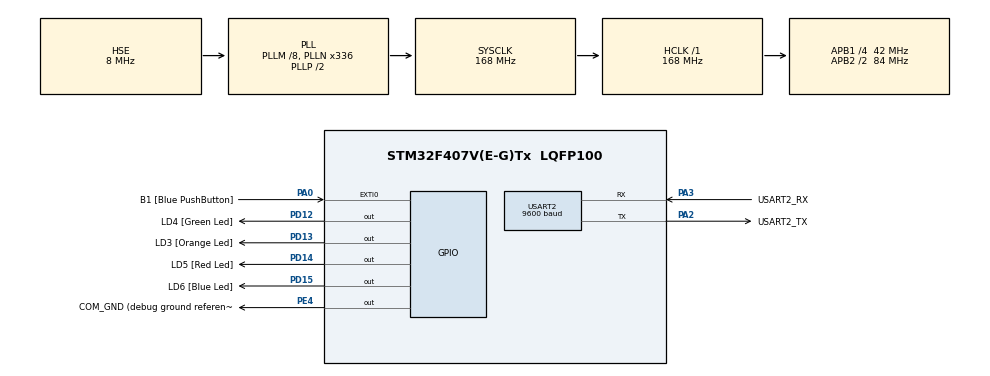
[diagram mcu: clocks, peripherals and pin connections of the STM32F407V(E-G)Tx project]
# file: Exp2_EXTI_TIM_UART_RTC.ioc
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Mcu.Family=STM32F4
Mcu.Name=STM32F407V(E-G)Tx
Mcu.Package=LQFP100
NVIC.EXTI0_IRQn=true\:1\:0\:false\:false\:true\:true\:true\:true
NVIC.PriorityGroup=NVIC_PRIORITYGROUP_4
NVIC.RTC_WKUP_IRQn=true\:0\:0\:false\:false\:true\:false\:true\:true
NVIC.TIM3_IRQn=true\:2\:0\:false\:false\:true\:true\:true\:true
NVIC.USART2_IRQn=true\:1\:0\:false\:false\:true\:true\:true\:true
PA0-WKUP.GPIO_Label=B1 [Blue PushButton]
PA0-WKUP.GPIO_ModeDefaultEXTI=GPIO_MODE_IT_RISING
PA0-WKUP.GPIO_PuPd=GPIO_PULLDOWN
PA0-WKUP.GPIO_Speed=GPIO_SPEED_FREQ_VERY_HIGH
PA0-WKUP.Signal=GPXTI0
PA13.GPIO_Label=SWDIO
PA13.Signal=SYS_JTMS-SWDIO
PA14.GPIO_Label=SWCLK
PA14.Signal=SYS_JTCK-SWCLK
PA2.GPIO_Label=USART2_TX
PA2.GPIO_Mode=GPIO_MODE_AF_PP
PA2.GPIO_PuPd=GPIO_PULLUP
PA2.GPIO_Speed=GPIO_SPEED_FREQ_VERY_HIGH
PA2.Mode=Asynchronous
PA2.Signal=USART2_TX
PA3.GPIO_Label=USART2_RX
PA3.GPIO_Mode=GPIO_MODE_AF_PP
PA3.GPIO_PuPd=GPIO_PULLUP
PA3.GPIO_Speed=GPIO_SPEED_FREQ_VERY_HIGH
PA3.Mode=Asynchronous
PA3.Signal=USART2_RX
PD12.GPIO_Label=LD4 [Green Led]
PD12.GPIO_PuPd=GPIO_NOPULL
PD12.GPIO_Speed=GPIO_SPEED_FREQ_LOW
PD12.Signal=GPIO_Output
PD13.GPIO_Label=LD3 [Orange Led]
PD13.GPIO_PuPd=GPIO_NOPULL
PD13.GPIO_Speed=GPIO_SPEED_FREQ_LOW
PD13.Signal=GPIO_Output
PD14.GPIO_Label=LD5 [Red Led]
PD14.GPIO_PuPd=GPIO_NOPULL
PD14.GPIO_Speed=GPIO_SPEED_FREQ_LOW
PD14.Signal=GPIO_Output
PD15.GPIO_Label=LD6 [Blue Led]
PD15.GPIO_PuPd=GPIO_NOPULL
PD15.GPIO_Speed=GPIO_SPEED_FREQ_LOW
PD15.Signal=GPIO_Output
PE4.GPIO_Label=COM_GND (debug ground reference)
PE4.GPIO_PuPd=GPIO_NOPULL
PE4.GPIO_Speed=GPIO_SPEED_FREQ_LOW
PE4.PinState=GPIO_PIN_RESET
PE4.Signal=GPIO_Output
PH0-OSC_IN.GPIO_Label=PH0-OSC_IN
PH0-OSC_IN.Mode=HSE-External-Oscillator
PH0-OSC_IN.Signal=RCC_OSC_IN
PH1-OSC_OUT.GPIO_Label=PH1-OSC_OUT
PH1-OSC_OUT.Mode=HSE-External-Oscillator
PH1-OSC_OUT.Signal=RCC_OSC_OUT
ProjectManager.HeapSize=0x200
ProjectManager.StackSize=0x400
ProjectManager.TargetToolchain=MDK-ARM V5.32
RCC.48MHZClocksFreq_Value=48000000
RCC.AHBFreq_Value=168000000
RCC.APB1CLKDivider=RCC_HCLK_DIV4
RCC.APB1Freq_Value=42000000
RCC.APB1TimFreq_Value=84000000
RCC.APB2CLKDivider=RCC_HCLK_DIV2
RCC.APB2Freq_Value=84000000
RCC.APB2TimFreq_Value=168000000
RCC.CortexFreq_Value=168000000
RCC.HCLKFreq_Value=168000000
RCC.HSE_VALUE=8000000
RCC.HSI_VALUE=16000000
RCC.LSE_VALUE=32768
RCC.PLLM=8
RCC.PLLN=336
RCC.PLLP=RCC_PLLP_DIV2
RCC.PLLQ=7
RCC.PLLSourceVirtual=RCC_PLLSOURCE_HSE
RCC.SYSCLKFreq_VALUE=168000000
RCC.SYSCLKSource=RCC_SYSCLKSOURCE_PLLCLK
RCC.VCOOutputFreq_Value=336000000
RTC.AsynchPrediv=127
RTC.HourFormat=RTC_HOURFORMAT_24
RTC.SynchPrediv=249
RTC.WakeUpClock=RTC_WAKEUPCLOCK_CK_SPRE_16BITS
TIM3.AutoReloadPreload=TIM_AUTORELOAD_PRELOAD_ENABLE
TIM3.ClockDivision=TIM_CLOCKDIVISION_DIV1
TIM3.Period=2499
TIM3.Prescaler=8399
USART2.BaudRate=9600
USART2.Parity=PARITY_NONE
USART2.StopBits=STOPBITS_1
USART2.VirtualMode-Asynchronous=VM_ASYNC
USART2.WordLength=WORDLENGTH_8B
VP_RTC_VS_RTC_Activate.Mode=RTC_Enabled
VP_TIM3_VS_ClockSourceINT.Mode=Internal

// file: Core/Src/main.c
/* USER CODE BEGIN Header */
/**
  ******************************************************************************
  * @file           : main.c
  * @brief          : 实验二 主程序
  *                   STM32F407G-DISC1 / STM32F407VGT6
  *
  *  任务：
  *   1) 按键 B1(PA0) 外部中断 EXTI0：每次按下切换 LED3~LED6 跑马灯方向
  *      （正转 LED3->LED6  /  反转 LED6->LED3），并在中断里生成打印信息
  *   2) TIM3 定时中断（250 ms，要求 200~500 ms 区间）驱动跑马灯逐一点亮
  *   3) USART2 中断接收数据帧 $0,1,YYMMDD,HHMMSS*，解析后更新 RTC 时间
  *   4) RTC 1 Hz 秒中断把当前时间格式化后每秒上传，用于核对时间是否改对
  ******************************************************************************
  * @attention
  *
  * Copyright (c) 2026 STMicroelectronics.
  * All rights reserved.
  *
  * This software is licensed under terms that can be found in the LICENSE file
  * in the root directory of this software component.
  * If no LICENSE file comes with this software, it is provided AS-IS.
  *
  ******************************************************************************
  */
/* USER CODE END Header */
#include "main.h"
#include "rtc.h"
#include "tim.h"
#include "usart.h"
#include "gpio.h"

/* USER CODE BEGIN Includes */
#include <stdio.h>
#include <string.h>
/* USER CODE END Includes */

/* USER CODE BEGIN PD */
#define LED_STEP_MS         250U   /* 跑马灯步进间隔，要求 200~500 ms */
/* USER CODE END PD */

/* USER CODE BEGIN PV */
/* ---- RTC 秒中断与主循环共享的时间数据 ---- */
volatile uint32_t m_nRtcYMD    = 0U;
volatile uint32_t m_nRtcHMS    = 0U;
volatile uint8_t  g_rtcSecFlag = 0U;
char              g_rtcString[32] = "RTC init\r\n";

/* ---- 跑马灯 ---- */
/* 四颗 LED 在板上呈菱形排列（不是一排）：
 *             LD3 (PD13)
 *   LD4 (PD12)            LD5 (PD14)
 *             LD6 (PD15)
 * 按名字 LED3→LED4→LED5→LED6 点亮 = 上→左→右→下，视觉上是 "Z" 字形。
 * 所以这里按"物理位置绕圈"排序：LD3(上) → LD5(右) → LD6(下) → LD4(左)
 *   index+1  = 顺时针
 *   index-1  = 逆时针
 */
static const uint16_t s_ledRing[4] = {LD3_Pin, LD5_Pin, LD6_Pin, LD4_Pin};
static volatile uint8_t s_ledIndex   = 0U;   /* 当前点亮序号 0->LD3(上) 1->LD5(右) 2->LD6(下) 3->LD4(左) */
static volatile uint8_t s_dirReverse = 0U;   /* 0 = 顺时针，1 = 逆时针 */

/* ---- 外部中断产生的打印信息（中断里只准备，主循环发送）---- */
static volatile uint8_t s_keyMsgFlag = 0U;
static char s_keyMsg[64];

/* ---- 串口帧接收（DMA + IDLE，收到一段数据后由 App_FrameFeed 逐字节组帧）---- */
char    chRxBuf[128];                        /* 帧内容缓冲（去掉 $ 与 *） */
volatile uint8_t g_frameRdy = 0U;            /* 1 = 收到完整一帧 */
static volatile uint8_t s_rxInFrame = 0U;    /* 正在接收一帧 */
static volatile uint8_t s_rxLen     = 0U;    /* 当前帧长度 */
/* USER CODE END PV */

void SystemClock_Config(void);
/* USER CODE BEGIN PFP */
static void Led_AllOff(void);
static void Led_Marquee_Step(void);
uint8_t App_FrameFeed(const uint8_t *buf, uint16_t len);
static uint8_t Frame_DecodeSetRtc(const char *buf);
static uint8_t WeekDay_Calc(uint16_t year, uint8_t month, uint8_t day);
/* USER CODE END PFP */

/* USER CODE BEGIN 0 */
#if defined(__CC_ARM)
#pragma import(__use_no_semihosting)   /* 不使用半主机模式，printf 才能脱机工作 */
struct __FILE
{
  int handle;
};
FILE __stdout;

void _sys_exit(int x)
{
  (void)x;
}

void _ttywrch(int ch)
{
  (void)ch;
}
#endif

/**
  * @brief  printf 重定向：字符写入串口 TX 环形缓冲，由 DMA 后台发送
  * @note   Uart_TxChar() 只入队，立即返回，printf 不再阻塞
  */
int fputc(int ch, FILE *f)
{
  (void)f;
  return Uart_TxChar(ch);
}
/* USER CODE END 0 */

/**
  * @brief  程序入口：初始化外设后进入主循环
  * @note   初始化顺序：HAL -> 时钟 -> GPIO(含 EXTI) -> RTC -> TIM3 -> USART2 -> DMA
  *         主循环只做三件事：发按键信息、解析串口帧、发 RTC 时间
  * @retval int
  */
int main(void)
{

  /* MCU Configuration--------------------------------------------------------*/

  /* Reset of all peripherals, Initializes the Flash interface and the Systick. */
  HAL_Init();

  /* Configure the system clock */
  SystemClock_Config();

  /* Initialize all configured peripherals */
  MX_GPIO_Init();
  MX_RTC_Init();
  MX_TIM3_Init();
  MX_USART2_UART_Init();
  /* USER CODE BEGIN 2 */
  /* ★ 必须先初始化 DMA，再使用 printf/串口发送（printf 现在走 DMA 发送路径） */
  Uart_DmaInit();

  printf("\r\n");
  printf("**********************************************\r\n");
  printf("*  STM32F407G-DISC1  Experiment 2            *\r\n");
  printf("*  EXTI0 / TIM3 / USART2 frame / RTC         *\r\n");
  printf("**********************************************\r\n");
  printf("SYSCLK = %lu Hz\r\n", (unsigned long)HAL_RCC_GetSysClockFreq());
  printf("TIM3   : %lu ms update interrupt, LED marquee\r\n", (unsigned long)LED_STEP_MS);
  printf("USART2 : 9600 bps, 8 data bits, 1 stop bit, no parity\r\n");
  printf("CMD    : $0,1,YYMMDD,HHMMSS*   e.g. $0,1,251107,140101*\r\n");
  printf("KEY    : press B1 -> switch direction (CLOCKWISE / COUNTER-CLOCKWISE)\r\n\r\n");

  /* 启动 TIM3 更新中断：此后每 250 ms 自动走一步跑马灯 */
  if (HAL_TIM_Base_Start_IT(&htim3) != HAL_OK)
  {
    Error_Handler();
  }

  /* 初始化串口 DMA：TX 走 DMA1_Stream6，RX 走 DMA1_Stream5
     （已在 USER CODE 2 开头调用，这里不再重复） */

  /* 使能串口接收：DMA + 空闲(IDLE)中断，一段数据收完再处理 */
  if (HAL_UARTEx_ReceiveToIdle_DMA(&huart2, g_uartRxDma, sizeof(g_uartRxDma)) != HAL_OK)
  {
    Error_Handler();
  }
  /* USER CODE END 2 */

  /* Infinite loop */
  /* USER CODE BEGIN WHILE */
  while (1)
  {
    /* 1) 外部中断里准备好的按键信息，入队后由 DMA 发送 */
    if (s_keyMsgFlag != 0U)
    {
      s_keyMsgFlag = 0U;
      Uart_SendAsync((uint8_t *)s_keyMsg, (uint16_t)strlen(s_keyMsg));
    }

    /* 2) 收到完整数据帧：回显并解析，必要时更新 RTC */
    if (g_frameRdy != 0U)
    {
      g_frameRdy = 0U;
      printf("[RX] $%s*\r\n", chRxBuf);
      if (Frame_DecodeSetRtc(chRxBuf) == 0U)
      {
        printf("[RX] ignored, format: $0,1,YYMMDD,HHMMSS*\r\n");
      }
    }

    /* 3) RTC 秒信号：时间已在中断里格式化，这里入队由 DMA 发送 */
    if (g_rtcSecFlag != 0U)
    {
      g_rtcSecFlag = 0U;
      Uart_SendAsync((uint8_t *)g_rtcString, (uint16_t)strlen(g_rtcString));
    }
    /* USER CODE END WHILE */

  }
}

/**
  * @brief  系统时钟配置：HSE 8 MHz 经 PLL 倍频到 168 MHz
  * @retval None
  */
void SystemClock_Config(void)
{
  RCC_OscInitTypeDef RCC_OscInitStruct = {0};
  RCC_ClkInitTypeDef RCC_ClkInitStruct = {0};

  /** Configure the main internal regulator output voltage
  */
  __HAL_RCC_PWR_CLK_ENABLE();
  __HAL_PWR_VOLTAGESCALING_CONFIG(PWR_REGULATOR_VOLTAGE_SCALE1);

  /** Initializes the RCC Oscillators according to the specified parameters
  * in the RCC_OscInitTypeDef structure.
  */
  RCC_OscInitStruct.OscillatorType = RCC_OSCILLATORTYPE_LSI|RCC_OSCILLATORTYPE_HSE;
  RCC_OscInitStruct.HSEState = RCC_HSE_ON;
  RCC_OscInitStruct.LSIState = RCC_LSI_ON;
  RCC_OscInitStruct.PLL.PLLState = RCC_PLL_ON;
  RCC_OscInitStruct.PLL.PLLSource = RCC_PLLSOURCE_HSE;
  RCC_OscInitStruct.PLL.PLLM = 8;
  RCC_OscInitStruct.PLL.PLLN = 336;
  RCC_OscInitStruct.PLL.PLLP = RCC_PLLP_DIV2;
  RCC_OscInitStruct.PLL.PLLQ = 7;
  if (HAL_RCC_OscConfig(&RCC_OscInitStruct) != HAL_OK)
  {
    Error_Handler();
  }

  /** Initializes the CPU, AHB and APB buses clocks
  */
  RCC_ClkInitStruct.ClockType = RCC_CLOCKTYPE_HCLK|RCC_CLOCKTYPE_SYSCLK
                              |RCC_CLOCKTYPE_PCLK1|RCC_CLOCKTYPE_PCLK2;
  RCC_ClkInitStruct.SYSCLKSource = RCC_SYSCLKSOURCE_PLLCLK;
  RCC_ClkInitStruct.AHBCLKDivider = RCC_SYSCLK_DIV1;
  RCC_ClkInitStruct.APB1CLKDivider = RCC_HCLK_DIV4;
  RCC_ClkInitStruct.APB2CLKDivider = RCC_HCLK_DIV2;

  if (HAL_RCC_ClockConfig(&RCC_ClkInitStruct, FLASH_LATENCY_5) != HAL_OK)
  {
    Error_Handler();
  }
}

/* USER CODE BEGIN 4 */
/**
  * @brief  熄灭全部用户 LED
  */
static void Led_AllOff(void)
{
  HAL_GPIO_WritePin(GPIOD, LD3_Pin | LD4_Pin | LD5_Pin | LD6_Pin, GPIO_PIN_RESET);
}

/**
  * @brief  跑马灯走一步（方向由 s_dirReverse 决定）
  * @note   按板上菱形位置绕圈，形成顺时针 / 逆时针：
  *         顺时针：LD3(上) -> LD5(右) -> LD6(下) -> LD4(左)
  *         逆时针：LD3(上) -> LD4(左) -> LD6(下) -> LD5(右)
  */
static void Led_Marquee_Step(void)
{
  Led_AllOff();
  HAL_GPIO_WritePin(GPIOD, s_ledRing[s_ledIndex], GPIO_PIN_SET);

  if (s_dirReverse == 0U)
  {
    s_ledIndex++;                     /* 顺时针：序号递增 */
    if (s_ledIndex >= 4U)
    {
      s_ledIndex = 0U;
    }
  }
  else
  {
    s_ledIndex = (s_ledIndex == 0U) ? 3U : (uint8_t)(s_ledIndex - 1U);  /* 逆时针：序号递减 */
  }
}

/**
  * @brief  把一段串口数据逐字节喂给帧状态机（DMA+IDLE 收到后整段调用）
  * @param  buf 数据首地址
  * @param  len 字节数
  * @retval 1 = 这段数据中出现完整一帧（内容已在 chRxBuf）
  * @note   帧格式：$0,1,YYMMDD,HHMMSS*     以 '$' 开头、'*' 结尾
  */
uint8_t App_FrameFeed(const uint8_t *buf, uint16_t len)
{
  uint16_t i;
  uint8_t  done = 0U;

  for (i = 0U; i < len; i++)
  {
    uint8_t rx = buf[i];

    if (rx == '$')                    /* 帧头：重新开始 */
    {
      s_rxInFrame = 1U;
      s_rxLen     = 0U;
      continue;
    }

    if (s_rxInFrame == 0U)            /* 不在帧内，忽略该字节 */
    {
      continue;
    }

    if (rx == '*')                    /* 帧尾：一帧结束 */
    {
      s_rxInFrame = 0U;
      chRxBuf[s_rxLen] = '\0';
      done = 1U;
      continue;
    }

    if (s_rxLen < (sizeof(chRxBuf) - 1U))
    {
      chRxBuf[s_rxLen++] = (char)rx;
    }
    else
    {
      /* 超长帧：丢弃，防止缓冲区溢出 */
      s_rxInFrame = 0U;
      s_rxLen     = 0U;
    }
  }
  return done;
}

/**
  * @brief  Sakamoto 公式求星期
  * @retval RTC 星期常量（1=周一 ... 7=周日）
  */
static uint8_t WeekDay_Calc(uint16_t year, uint8_t month, uint8_t day)
{
  static const uint8_t t[] = {0U, 3U, 2U, 5U, 0U, 3U, 5U, 1U, 4U, 6U, 2U, 4U};
  uint16_t y = year;
  uint8_t  w;

  if (month < 3U)
  {
    y--;
  }
  w = (uint8_t)((y + y / 4U - y / 100U + y / 400U + t[month - 1U] + day) % 7U);
  return (w == 0U) ? RTC_WEEKDAY_SUNDAY : w;   /* 0=周日 -> 7 */
}

/**
  * @brief  解析 "0,1,YYMMDD,HHMMSS" 并更新 RTC
  * @param  buf 去掉 $ 和 * 之后的帧内容
  * @retval 1 = 解析并设置成功，0 = 格式或数值非法
  */
static uint8_t Frame_DecodeSetRtc(const char *buf)
{
  int nAddr = 0, nCmd = 0, nYMD = 0, nHMS = 0;
  int nY, nM, nD, nH, nMin, nS;
  RTC_TimeTypeDef sTime = {0};
  RTC_DateTypeDef sDate = {0};

  /* 地址, 命令, 年月日, 时分秒 —— 用 %*[ ,] 跳过逗号/空格分隔符 */
  if (sscanf(buf, "%d%*[ ,]%d%*[ ,]%d%*[ ,]%d", &nAddr, &nCmd, &nYMD, &nHMS) < 4)
  {
    return 0U;
  }
  if (nCmd != 1)                      /* 命令 1 = 设置 RTC 时间 */
  {
    return 0U;
  }
  (void)nAddr;

  /* YYMMDD / HHMMSS 拆分：整数除 + 求余 */
  nY   = nYMD / 10000;
  nM   = nYMD % 10000 / 100;
  nD   = nYMD % 100;
  nH   = nHMS / 10000;
  nMin = nHMS % 10000 / 100;
  nS   = nHMS % 100;

  /* 取值范围检查，非法帧直接丢弃（防止把 RTC 写成无效值） */
  if ((nY < 0) || (nY > 99) || (nM < 1) || (nM > 12) || (nD < 1) || (nD > 31) ||
      (nH < 0) || (nH > 23) || (nMin < 0) || (nMin > 59) || (nS < 0) || (nS > 59))
  {
    return 0U;
  }

  sTime.Hours          = (uint8_t)nH;
  sTime.Minutes        = (uint8_t)nMin;
  sTime.Seconds        = (uint8_t)nS;
  sTime.DayLightSaving = RTC_DAYLIGHTSAVING_NONE;
  sTime.StoreOperation = RTC_STOREOPERATION_RESET;
  if (HAL_RTC_SetTime(&hrtc, &sTime, RTC_FORMAT_BIN) != HAL_OK)
  {
    return 0U;
  }

  sDate.WeekDay = WeekDay_Calc((uint16_t)(2000 + nY), (uint8_t)nM, (uint8_t)nD);
  sDate.Month   = (uint8_t)nM;
  sDate.Date    = (uint8_t)nD;
  sDate.Year    = (uint8_t)nY;
  if (HAL_RTC_SetDate(&hrtc, &sDate, RTC_FORMAT_BIN) != HAL_OK)
  {
    return 0U;
  }

  printf("[RTC] updated -> 20%02d-%02d-%02d %02d:%02d:%02d\r\n",
         nY, nM, nD, nH, nMin, nS);
  return 1U;
}

/**
  * @brief  GPIO 外部中断回调（EXTI0 -> PA0/B1）
  * @note   中断里只更新方向 + 生成字符串，发送交给主循环，
  *         避免在中断中阻塞 30 ms 影响定时器与串口接收
  */
void HAL_GPIO_EXTI_Callback(uint16_t GPIO_Pin)
{
  if (GPIO_Pin == B1_Pin)
  {
    s_dirReverse = (s_dirReverse == 0U) ? 1U : 0U;
    (void)snprintf(s_keyMsg, sizeof(s_keyMsg),
                   "[EXTI0] B1 pressed -> %s\r\n",
                   (s_dirReverse != 0U) ? "COUNTER-CLOCKWISE (LD3->LD4->LD6->LD5)"
                                        : "CLOCKWISE (LD3->LD5->LD6->LD4)");
    s_keyMsgFlag = 1U;
  }
}

/**
  * @brief  定时器更新中断回调（TIM3，每 250 ms）
  */
void HAL_TIM_PeriodElapsedCallback(TIM_HandleTypeDef *htim)
{
  if (htim->Instance == TIM3)
  {
    Led_Marquee_Step();
  }
}
/* 注：串口 TX 完成、RX 空闲事件、错误回调都在 usart.c 里实现
        （TX 走 DMA 环形缓冲，RX 走 DMA + IDLE） */
/* USER CODE END 4 */

/**
  * @brief  错误兜底：初始化失败时关中断并停在这里，方便调试器定位
  * @retval None
  */
void Error_Handler(void)
{
  __disable_irq();
  while (1)
  {
  }
}
